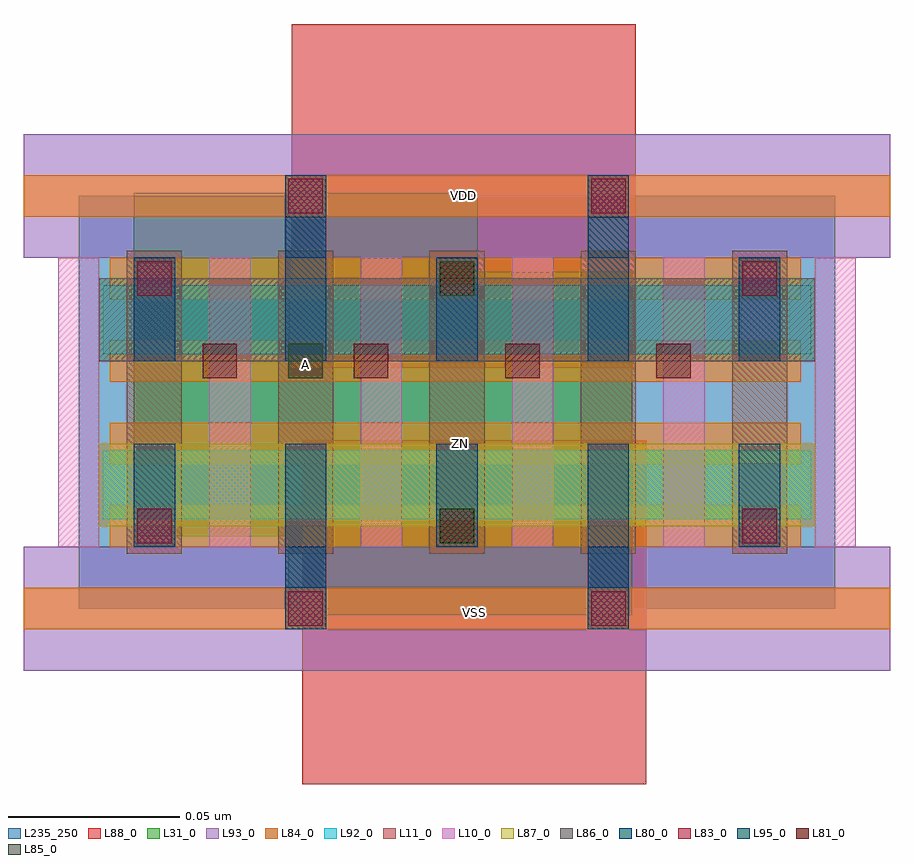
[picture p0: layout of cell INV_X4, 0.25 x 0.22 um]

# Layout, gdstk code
import gdstk
lib = gdstk.Library(unit=1e-6, precision=1e-09)
def R(c, l, rs):  # rectangles x0, y0, x1, y1
    for r in rs: c.add(gdstk.rectangle(r[:2], r[2:], *l))
def A(c, l, x, y, w, h, nx, ny, dx, dy):  # array of equal rectangles
    R(c, l, [(x+i*dx, y+j*dy, x+i*dx+w, y+j*dy+h) for i in range(nx) for j in range(ny)])
L10_0 = (10, 0)
L11_0 = (11, 0)
L31_0 = (31, 0)
L80_0 = (80, 0)
L81_0 = (81, 0)
L83_0 = (83, 0)
L84_0 = (84, 0)
L85_0 = (85, 0)
L86_0 = (86, 0)
L87_0 = (87, 0)
L88_0 = (88, 0)
L92_0 = (92, 0)
L93_0 = (93, 0)
L95_0 = (95, 0)
L235_250 = (235, 250)

inv_x4 = lib.new_cell('INV_X4')
A(inv_x4, L10_0, -0.006, 0.018, 0.012, 0.084, 6, 1, 0.044, 0)
A(inv_x4, L11_0, 0.014, 0.016, 0.016, 0.088, 5, 1, 0.044, 0)
R(inv_x4, L31_0, [(0.061,-0.002,0.161,0.098), (0.016,0.021,0.116,0.121)])
A(inv_x4, L80_0, 0.016, 0.018, 0.012, 0.03, 3, 2, 0.088, 0.054)
R(inv_x4, L80_0, [(0.06,-0.006,0.072,0.048), (0.148,-0.006,0.16,0.048), (0.06,0.072,0.072,0.126), (0.148,0.072,0.16,0.126)])
A(inv_x4, L81_0, 0.036, 0.067, 0.01, 0.01, 4, 1, 0.044, 0)
A(inv_x4, L83_0, 0.017, 0.019, 0.01, 0.01, 3, 2, 0.088, 0.072)
R(inv_x4, L83_0, [(0.061,-0.005,0.071,0.005), (0.149,-0.005,0.159,0.005), (0.061,0.115,0.071,0.125), (0.149,0.115,0.159,0.125)])
A(inv_x4, L84_0, 0.009, 0.018, 0.201, 0.012, 1, 4, 0, 0.024)
R(inv_x4, L84_0, [(-0.016,-0.006,0.236,0.006), (-0.016,0.114,0.236,0.126)])
R(inv_x4, L85_0, [(0.105,0.019,0.115,0.029), (0.061,0.067,0.071,0.077), (0.105,0.091,0.115,0.101)])
R(inv_x4, L86_0, [(0.006,0.072,0.214,0.096)])
R(inv_x4, L87_0, [(0.006,0.024,0.214,0.048)])
R(inv_x4, L88_0, [(0.065,-0.051,0.165,0.049), (0.062,0.07,0.162,0.17)])
R(inv_x4, L92_0, [(0.007,0.026,0.213,0.046), (0.007,0.074,0.213,0.094)])
R(inv_x4, L93_0, [(-0.016,-0.018,0.236,0.018), (-0.016,0.102,0.236,0.138)])
R(inv_x4, L95_0, [(0.06,0.006,0.072,0.018), (0.148,0.006,0.16,0.018), (0.06,0.102,0.072,0.114), (0.148,0.102,0.16,0.114)])
R(inv_x4, L235_250, [(0,0,0.22,0.12)])
inv_x4.add(gdstk.Label('VDD', (0.112,0.12), layer=88, texttype=0))
inv_x4.add(gdstk.Label('VSS', (0.115,-0.001), layer=88, texttype=0))
inv_x4.add(gdstk.Label('A', (0.066,0.071), layer=31, texttype=0))
inv_x4.add(gdstk.Label('ZN', (0.111,0.048), layer=31, texttype=0))

lib.write_gds('INV_X4.gds')
